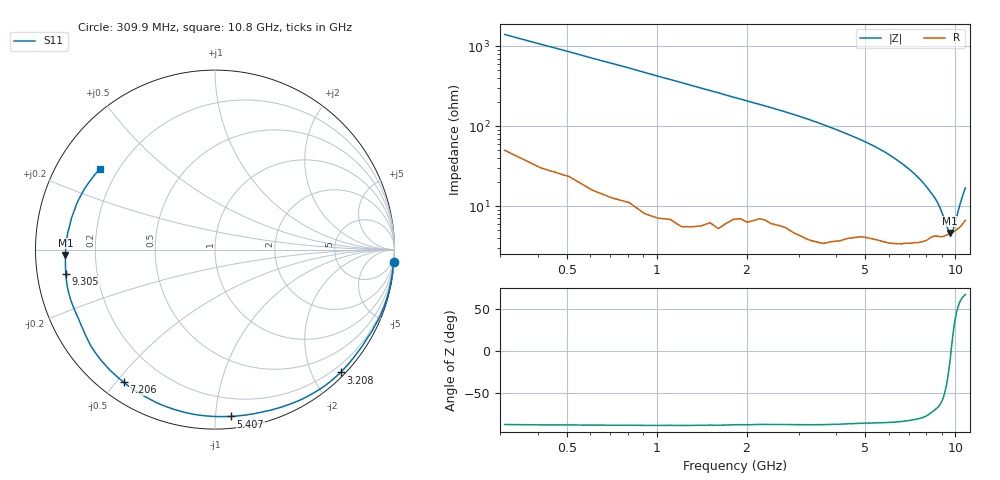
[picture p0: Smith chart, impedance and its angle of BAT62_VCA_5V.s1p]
! Infineon Technologies  Discrete & RF Semiconductors
! BAT62
! VCA = 5 V
! One-Port S-Parameters
# Hz  S  MA  R  50
!f  S11
!Hz  Mag  Ang
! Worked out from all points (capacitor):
!   106 points, 309.9 MHz to 10.8 GHz, reference 50 ohm
!   read as one part to ground: C = 364 fF near 309.9 MHz
!   lowest |Z| = 4.61 ohm at 9.605 GHz (marker M1)
!   series resonance near 9.68 GHz, so ESL is about 740 pH
!   S11 on the Smith chart (normalised r, x): 309.9 MHz: 1, -28; 3.208 GHz: 0.08, -2.45; 5.407 GHz: 0.08, -1.10; 7.206 GHz: 0.07, -0.52; 9.305 GHz: 0.09, -0.08; 10.8 GHz: 0.13, +0.31
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3.0985e8  0.9975 -4.1
1.0095e9  0.9961 -13.5
1.70915e9  0.9904 -23.1
2.4088e9  0.9812 -32.5
3.0085e9  0.979 -41.2
3.2084e9  0.9786 -44.4
3.70815e9  0.973 -52.8
4.30785e9  0.958 -63.4
4.90755e9  0.9417 -74.5
5.4073e9  0.9335 -84.6
5.6072e9  0.9306 -88.8
6.007e9  0.9251 -97.6
6.30685e9  0.9191 -104.4
6.6067e9  0.9126 -111.2
6.90655e9  0.904 -117.9
7.2064e9  0.8971 -124.6
7.70615e9  0.8854 -135.6
8.006e9  0.8753 -142.2
8.2059e9  0.8646 -146.5
8.8056e9  0.8513 -158.6
9.10545e9  0.8486 -165.7
9.30535e9  0.8427 -170.6
9.50525e9  0.8359 -175.5
9.6052e9  0.8343 -177.9
9.90505e9  0.826 173.6
1.030485e10  0.8115 161.4
1.050475e10  0.8021 155.0
1.08046e10  0.7842 145.0
